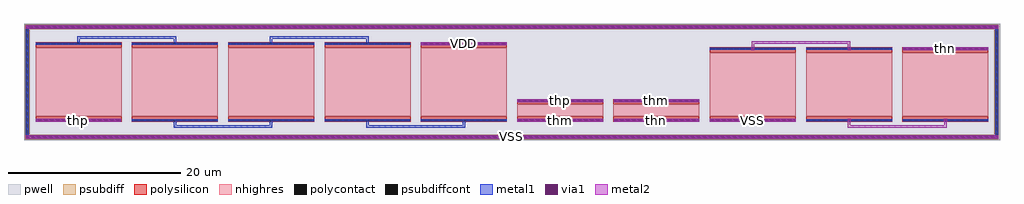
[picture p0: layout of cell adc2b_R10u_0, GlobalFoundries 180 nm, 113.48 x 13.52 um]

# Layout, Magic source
magic
tech gf180mcuD
magscale 1 10
<< pwell >>
rect -1268 -464 21428 2240
<< psubdiff >>
rect -1244 -440 21404 -336
rect -1244 2112 21404 2216
rect -1244 -336 -1140 2112
rect 21300 -336 21404 2112
<< polysilicon >>
rect -1000 1690 1000 1812
rect -1000 -36 1000 86
rect 1240 1690 3240 1812
rect 1240 -36 3240 86
rect 3480 1690 5480 1812
rect 3480 -36 5480 86
rect 5720 1690 7720 1812
rect 5720 -36 7720 86
rect 7960 1690 9960 1812
rect 7960 -36 9960 86
rect 10200 366 12200 488
rect 10200 -36 12200 86
rect 12440 366 14440 488
rect 12440 -36 14440 86
rect 14680 1573 16680 1695
rect 14680 -36 16680 86
rect 16920 1573 18920 1695
rect 16920 -36 18920 86
rect 19160 1573 21160 1695
rect 19160 -36 21160 86
<< nhighres >>
rect -1000 86 1000 1690
rect 1240 86 3240 1690
rect 3480 86 5480 1690
rect 5720 86 7720 1690
rect 7960 86 9960 1690
rect 10200 86 12200 366
rect 12440 86 14440 366
rect 14680 86 16680 1573
rect 16920 86 18920 1573
rect 19160 86 21160 1573
<< psubdiffcont >>
rect -1231 -416 -1153 2192
rect 21313 -416 21391 2192
rect -1093 2125 21253 2203
rect -1093 -427 21253 -349
<< polycontact >>
rect -987 1753 987 1799
rect -987 -23 987 23
rect 1253 1753 3227 1799
rect 1253 -23 3227 23
rect 3493 1753 5467 1799
rect 3493 -23 5467 23
rect 5733 1753 7707 1799
rect 5733 -23 7707 23
rect 7973 1753 9947 1799
rect 7973 -23 9947 23
rect 10213 429 12187 475
rect 10213 -23 12187 23
rect 12453 429 14427 475
rect 12453 -23 14427 23
rect 14693 1636 16667 1682
rect 14693 -23 16667 23
rect 16933 1636 18907 1682
rect 16933 -23 18907 23
rect 19173 1636 21147 1682
rect 19173 -23 21147 23
<< metal1 >>
rect -998 1753 998 1799
rect -998 -23 998 23
rect 1242 1753 3238 1799
rect 1242 -23 3238 23
rect 3482 1753 5478 1799
rect 3482 -23 5478 23
rect 5722 1753 7718 1799
rect 5722 -23 7718 23
rect 7962 1753 9958 1799
rect 7962 -23 9958 23
rect 10202 429 12198 475
rect 10202 -23 12198 23
rect 12442 429 14438 475
rect 12442 -23 14438 23
rect 14682 1636 16678 1682
rect 14682 -23 16678 23
rect 16922 1636 18918 1682
rect 16922 -23 18918 23
rect 19162 1636 21158 1682
rect 19162 -23 21158 23
rect -998 -38 998 38
rect -30 1753 30 1952
rect 2210 1753 2270 1952
rect -30 1892 2270 1952
rect 2210 -176 2270 23
rect 4450 -176 4510 23
rect 2210 -176 4510 -116
rect 4450 1753 4510 1952
rect 6690 1753 6750 1952
rect 4450 1892 6750 1952
rect 6690 -176 6750 23
rect 8930 -176 8990 23
rect 6690 -176 8990 -116
rect 7962 1738 9958 1814
rect 10202 -38 12198 38
rect 10202 414 12198 490
rect 12442 -38 14438 38
rect 12442 414 14438 490
rect 14682 -38 16678 38
rect 15642 1621 15718 1697
rect 17882 1621 17958 1697
rect 17882 -38 17958 38
rect 20122 -38 20198 38
rect 19162 1621 21158 1697
rect -1231 -427 21391 -349
rect -1231 2125 21391 2203
rect -1231 -427 -1153 2203
rect 21313 -427 21391 2203
rect -1231 -427 21391 -349
rect -1231 2125 21391 2203
<< metal2 >>
rect -998 -38 998 38
rect 7962 1738 9958 1814
rect 10202 -38 12198 38
rect 10202 414 12198 490
rect 12442 -38 14438 38
rect 12442 414 14438 490
rect 14682 -38 16678 38
rect 15642 1621 15718 1697
rect 15650 1659 15710 1835
rect 17882 1621 17958 1697
rect 17890 1659 17950 1835
rect 15650 1775 17950 1835
rect 17882 -38 17958 38
rect 17890 -176 17950 0
rect 20122 -38 20198 38
rect 20130 -176 20190 0
rect 17890 -176 20190 -116
rect 19162 1621 21158 1697
rect -1231 -427 21391 -349
rect -1231 2125 21391 2203
<< via1 >>
rect -986 -26 986 26
rect 7974 1750 9946 1802
rect 10214 -26 12186 26
rect 10214 426 12186 478
rect 12454 -26 14426 26
rect 12454 426 14426 478
rect 14694 -26 16666 26
rect 15654 1633 15706 1685
rect 17894 1633 17946 1685
rect 17894 -26 17946 26
rect 20134 -26 20186 26
rect 19174 1633 21146 1685
rect -1219 -415 21379 -361
rect -1219 2137 21379 2191
<< labels >>
flabel metal2 s -998 -38 998 38 0 FreeSans 80 0 0 0 thp
port 1 nsew signal bidirectional
flabel metal2 s 7962 1738 9958 1814 0 FreeSans 80 0 0 0 VDD
port 2 nsew signal bidirectional
flabel metal2 s 10202 -38 12198 38 0 FreeSans 80 0 0 0 thm
port 3 nsew signal bidirectional
flabel metal2 s 10202 414 12198 490 0 FreeSans 80 0 0 0 thp
port 1 nsew signal bidirectional
flabel metal2 s 12442 -38 14438 38 0 FreeSans 80 0 0 0 thn
port 4 nsew signal bidirectional
flabel metal2 s 12442 414 14438 490 0 FreeSans 80 0 0 0 thm
port 3 nsew signal bidirectional
flabel metal2 s 14682 -38 16678 38 0 FreeSans 80 0 0 0 VSS
port 5 nsew signal bidirectional
flabel metal2 s 19162 1621 21158 1697 0 FreeSans 80 0 0 0 thn
port 4 nsew signal bidirectional
flabel metal2 s -1231 -427 21391 -349 0 FreeSans 80 0 0 0 VSS
port 5 nsew signal bidirectional
<< end >>
